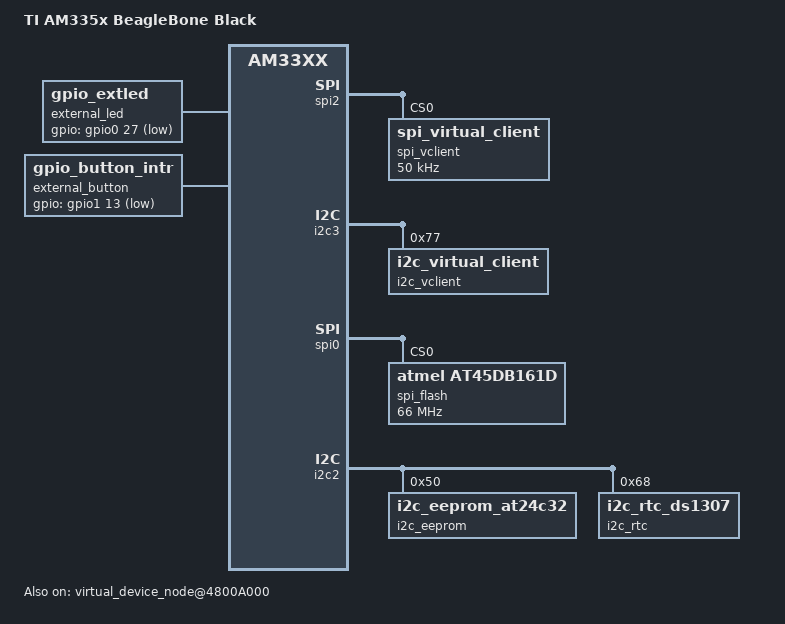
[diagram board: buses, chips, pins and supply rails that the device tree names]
/*
 * Copyright (C) 2012 Texas Instruments Incorporated - http://www.ti.com
 *
 * This program is free software; you can redistribute it and/or modify
 * it under the terms of the GNU General Public License version 2 as 
 * published by the Free Software Foundation.
 */
/dts-v1/;

#include "am33xx.dtsi"
#include "am335x-bone-common.dtsi"
#include "am335x-boneblack-common.dtsi"

/ {
	model = "TI AM335x BeagleBone Black";
	compatible = "ti,am335x-bone-black", "ti,am335x-bone", "ti,am33xx";
};

&cpu0_opp_table {
	/* 
	 * All PG 2.0 silicon may not support 1GHz but some of the early
	 * BeagleBone Blacks have PG 2.0 silicon which is guaranteed
	 * to support 1GHz OPP so enable it for PG 2.0 on this board.
	 */
	oppnitro@1000000000 {
		opp-supported-hw = <0x06 0x0100>;
	};
};

/ {
	/* Virtual Platform Device Node at Address 0x4800A000 */
	virtual_device_node@4800A000 {
 		/* Specify the Vendor ID and Device ID */
		/* Manufacturer and Model for Namespace Identification */
		compatible = "virtual_vendor,virtual_device";
		/* No of cells to treat as address in Child Node */
		#address-cells = <1>;
		/* No of cells to treat as size in Child Node */
		#size-cells = <1>;
		/* Register a 4096bytes Memory Region */
		reg = <0x4800A000 0x1000>;
		/* Enable the Device */
		status = "okay";
        };
};

/ {
	/* External LED connected on GPIO Bank0 Pin27 */
	external_led {
		compatible = "gpio_extled";
		gpios = <&gpio0 27 GPIO_ACTIVE_LOW>;
	};
};

/ {
        /* External Push Button Connected to GPIO is Configured as Interrupt */
        external_button {
                compatible = "gpio_button_intr";
                gpios = <&gpio1 13 GPIO_ACTIVE_LOW>;
        };
};

/* Beaglebone Black has 2 SPI Controllers namely spi0 and spi1 */
/* We are creating a virtual controller attached to the spi interface
   called spi2 */

/ {
        /* SPI Virtual Host Controller Node */
        spi2:   spi@44E03000 {
                compatible = "ti, spi_virtual_host";
                #address-cells = <1>;
                #size-cells = <0>;
                reg = <0x44E03000 0x400>;
                ti,spi-num-cs = <2>;
                ti,hwmods = "spi2";
                status = "disabled";
        };
};

/* Beaglebone Black has 2 SPI Controllers namely spi0 and spi1 */
/* We have previously created a virtual controller attached to the 
   spi interface called spi2 */
/* Here we are creating a virtual spi slave/client node which is
   attached to our spi2 virtual controller interface */
/* Declare the spi_vclient as a child node under the spi2 node */
/* The properties of page size, address width and others can be seen 
   in the specific device datasheet */

&spi2 {
        /* Enable the spi2 host controller */
        status = "okay";

        /* SPI Virtual Client Node */
        spi_vclient: spi_vclient@0 {
                compatible = "spi_virtual_client";
                spi-max-frequency = <50000>;
                reg = <0>;
                size = <256>;
                pagesize = <16>;
                address-width = <8>;
        };
};

/* Beaglebone Black has 2 SPI Controllers namely spi0 and spi1 */
/* The device used here is ATMEL AT45DB161D 16Mb Data Flash */
/* This device is connected to the spi0 Interface of the board */

&am33xx_pinmux {
        /* The spi0 pins are not configured in SPI Mode by default
           We need to configure them to SPI mode using Pin Muxing */
        /* Configuring each pin's corresponding register for setting its mode,pullup and other options */
        /* Can be seen in the SOC Technical Reference Manual */
        /* am33xx_pinmux is at an address 0x800 which can be seen from am33xx.dtsi file */
        /* Adding 0x150 to that causes equivalent address to be 0x950 which corresponds to conf_spi0_sclk 
           register in SOC Technical Reference Manual. Same is true for other pins. */
        spi0_pins: pinmux_spi0_pins {
                pinctrl-single,pins = <
                        0x150 (PIN_INPUT_PULLUP  | MUX_MODE0) /* spi0_sclk, INPUT_PULLUP | MODE0(0x30) */
                        0x154 (PIN_INPUT_PULLUP  | MUX_MODE0) /* spi0_d0, INPUT_PULLUP | MODE0 (0x30) */
                        0x158 (PIN_OUTPUT_PULLUP | MUX_MODE0) /* spi0_d1, OUTPUT_PULLUP | MODE0(0x10) */
                        0x15c (PIN_OUTPUT_PULLUP | MUX_MODE0) /* spi0_cs0, OUTPUT_PULLUP | MODE0(0x10) */
                >;
        };
};

&spi0 {
        pinctrl-names = "default";
        pinctrl-0 = <&spi0_pins>;

        status = "okay";

        /* Node for AT45DB161D SPI DataFlash */
        spi_flash: spi_flash@0 {
		compatible = "atmel,at45db161d";
                /* 66 MHz Frequency */
		spi-max-frequency = <66000000>;
                /* Chip Select Line 0 */
                reg = <0x0>;
                /* 2 MBytes */
                size = <2097152>;
                /* Page Size 512 */
                pagesize = <512>;
                /* 24 Address Lines for 2 Mbyte or 16 Mbit */
                address-width = <24>;
                /* SPI Mode 3 */
                spi-cpol;
                spi-cpha;
        };
};

/* BeagleBone Black has 3 I2C Controllers namely i2c0, i2c1 and i2c2 */
/* i2c0 is not projected to pins and it is used for internal devices only */
/* i2c1 and i2c2 are available in pin headers */
/* We are creating a virtual i2c host controller called i2c3 */

/ {
        /* I2C Virtual Host Controller Node */
        i2c3:   i2c@4819E000
        {
                compatible = "ti, i2c_virtual_host";
                #address-cells = <1>;
                #size-cells = <0>;
                ti,hwmods = "i2c4";
                reg = <0x4819E000 0x1000>;
        };
};

/* BeagleBone Black has 3 I2C Controllers namely i2c0, i2c1 and i2c2 */
/* i2c0 is not projected to pins and it is used for internal devices only */
/* i2c1 and i2c2 are available in pin headers */
/* We are creating a virtual i2c slave/client node which is attached to our /
   host controller called i2c3 */
/* Declare the i2c_vclient as a child node under the i2c3 node */
/* The properties of pagesize, address and others can be found in the device /
   datasheet */

&i2c3 {
        /* Enable te I2C Host Controller */
        status = "okay";

        /* I2C Virtual Client Node */
        i2c_vclient:  i2c_vclient@77
        {
                compatible = "i2c_virtual_client";
                reg = <0x77>;
                size = <256>;
                pagesize = <16>;
                address-width = <8>;
        };
};

/* BeagleBone Black has 3 I2C Controllers namely i2c0, i2c1 and i2c2 */
/* i2c0 is not projected to pins and it is used for internal devices only */
/* i2c1 and i2c2 are available in pin headers */
/* Declare the i2c_eeprom as a child node under the i2c2 node */
/* The properties of pagesize, address and others can be found in the device /
   datasheet */
/* Connect Pins SDA- P9_Pin20, SCL - P9_Pin19 */

&i2c2 {
        /* Enable te I2C Host Controller */
        status = "okay";

        /* I2C EEPROM Node */
        i2c_eeprom:  i2c_eeprom@50
        {
                compatible = "i2c_eeprom_at24c32";
                /* I2C Address 0x50 */
                reg = <0x50>;
                /* 4 KiloBytes */
                size = <4096>;
                /* 32 Bytes Page Size */
                pagesize = <32>;
                /* 12 Bit Required to Access 4K Addresses */
                address-width = <12>;
        };
}; 

/* BeagleBone Black has 3 I2C Controllers namely i2c0, i2c1 and i2c2 */
/* i2c0 is not projected to pins and it is used for internal devices only */
/* i2c1 and i2c2 are available in pin headers */
/* Declare the i2c_rtc as a child node under the i2c2 node */
/* An interrupt line is also present in some devices for alarms, but this
   device does not support it */
/* I2C Address 0x68 is specified in Device DataSheet */
/* Connect Pins SDA- P9_Pin20, SCL - P9_Pin19 */

&i2c2 {
        /* Enable te I2C Host Controller */
        status = "okay";

        /* I2C RTC Node */
        i2c_rtc:  i2c_rtc@68
        {
                compatible = "i2c_rtc_ds1307";
                /* I2C Address 0x68 */
                reg = <0x68>;
        };
};

